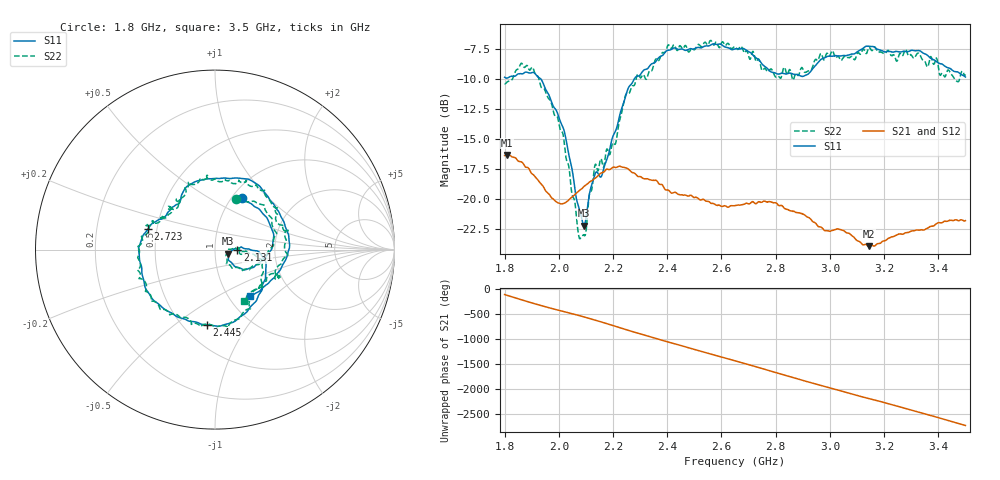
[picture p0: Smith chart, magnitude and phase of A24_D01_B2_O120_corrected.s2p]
! Created with skrf 1.9.0 (http://scikit-rf.org).
# Hz S RI R 50.0
!freq ReS11 ImS11 ReS21 ImS21 ReS12 ImS12 ReS22 ImS22
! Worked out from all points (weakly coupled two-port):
!   1601 points, 1.8 GHz to 3.5 GHz, reference 50 ohm
!   highest |S21| = -16.33 dB at 1.81 GHz (marker M1); lowest = -23.9 dB at 3.144 GHz (marker M2)
!   lowest |S11| = -22.2 dB at 2.093 GHz (marker M3), VSWR 1.17, Z = 58 - j2.58 ohm
!   |S11| at or under -10 dB: 1.934 GHz to 2.278 GHz (343.4 MHz wide, 16.3 % of centre)
!   |S22| runs from -23.3 to -6.8 dB; largest |S21 - S12| = 0.003
!   S11 on the Smith chart (normalised r, x): 1.8 GHz: 1.12, +0.71; 2.131 GHz: 1.29, -0.00; 2.445 GHz: 0.65, -0.66; 2.723 GHz: 0.45, +0.12; 3.5 GHz: 1.25, -0.72
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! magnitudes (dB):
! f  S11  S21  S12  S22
! 1.8 GHz  -9.8  -16.4  -16.4  -10.4
! 1.81 GHz  -9.9  -16.3  -16.3  -10.2
! 1.901 GHz  -9.4  -17.9  -17.8  -9.0
! 1.967 GHz  -11.5  -19.7  -19.7  -11.7
! 2.014 GHz  -13.9  -20.4  -20.4  -14.4
! 2.072 GHz  -20.5  -19.4  -19.4  -22.9
! 2.084 GHz  -21.5  -19.2  -19.1  -23.1
! 2.093 GHz  -22.2  -18.9  -19.0  -23.0
! 2.131 GHz  -18.0  -18.3  -18.3  -17.4
! 2.159 GHz  -18.0  -17.8  -17.8  -16.9
! 2.208 GHz  -14.4  -17.4  -17.3  -15.4
! 2.259 GHz  -10.6  -17.5  -17.5  -11.2
! 2.367 GHz  -8.2  -18.7  -18.6  -8.4
! 2.445 GHz  -7.5  -19.6  -19.6  -7.2
! 2.65 GHz  -7.5  -20.6  -20.5  -7.3
! 2.723 GHz  -8.2  -20.3  -20.3  -8.2
! 2.81 GHz  -9.6  -20.5  -20.4  -9.8
! 2.934 GHz  -9.2  -21.8  -21.8  -9.1
! 3.144 GHz  -7.2  -23.9  -23.9  -7.3
! 3.217 GHz  -7.7  -23.3  -23.2  -7.6
! 3.331 GHz  -7.6  -22.6  -22.6  -7.9
! 3.5 GHz  -9.8  -21.8  -21.8  -9.6
